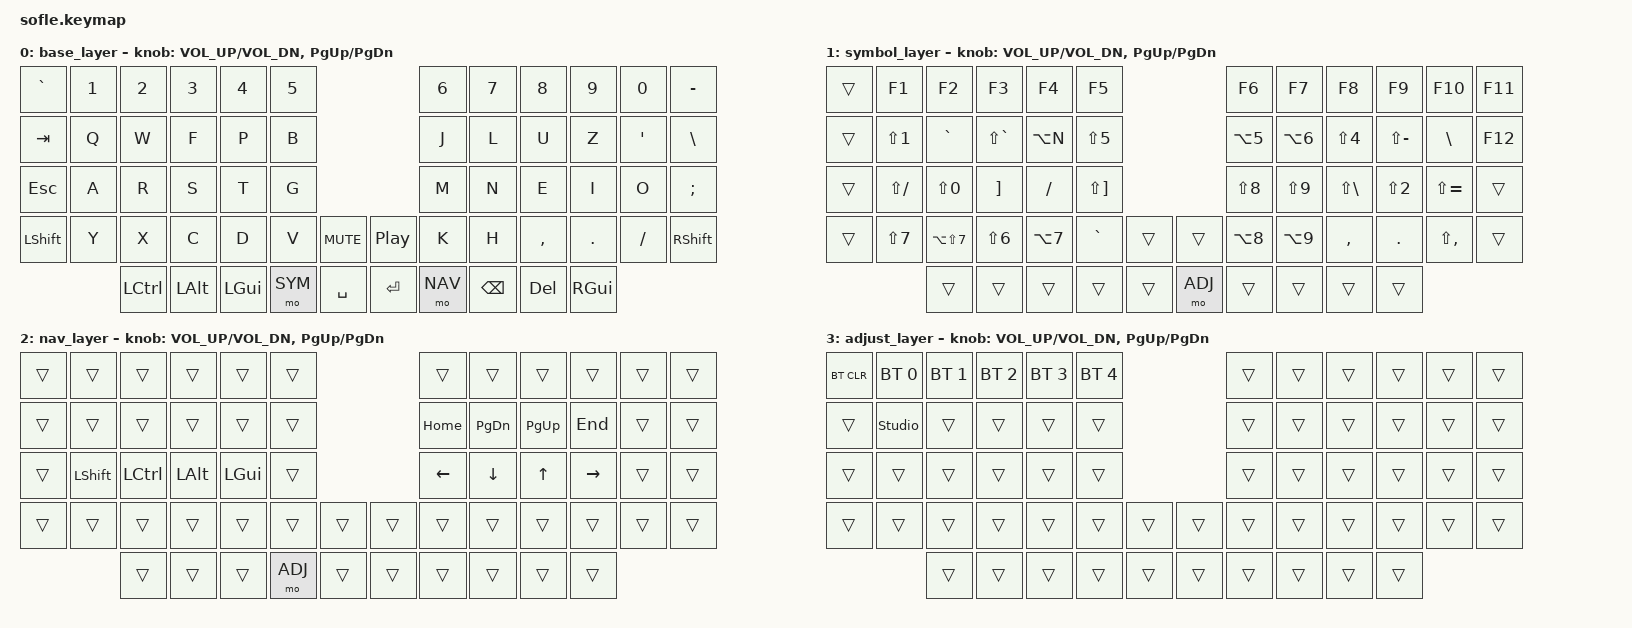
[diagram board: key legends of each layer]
#include <behaviors.dtsi>
#include <dt-bindings/zmk/keys.h>
#include <dt-bindings/zmk/bt.h>
#include <dt-bindings/zmk/ext_power.h>

#define BASE 0
#define SYM  1
#define NAV  2
#define ADJ  3

/ {
    combos {
        compatible = "zmk,combos";
        timeout-ms = <40>;

        /* Colemak-DH linke Hand: Pos 13 (A) + Pos 14 (R) = ä */
        combo_ae {
            key-positions = <13 14>;
            bindings = <&kp SQT>;
            layers = <BASE>;
        };

        /* Colemak-DH linke Hand: Pos 15 (S) + Pos 16 (T) = ß */
        combo_ss {
            key-positions = <15 16>;
            bindings = <&kp MINUS>;
            layers = <BASE>;
        };

        /* Colemak-DH rechte Hand: Pos 8 (U) + Pos 9 (Z-Keycode / Y-Buchstabe) = ü */
        combo_ue {
            key-positions = <8 9>;
            bindings = <&kp LBKT>;
            layers = <BASE>;
        };

        /* Colemak-DH rechte Hand: Pos 21 (I) + Pos 22 (O) = ö */
        combo_oe {
            key-positions = <21 22>;
            bindings = <&kp SEMI>;
            layers = <BASE>;
        };
    };

    keymap {
        compatible = "zmk,keymap";

        /* LAYER 0: BASE (Colemak-DH angepasst an macOS German Input) */
        base_layer {
            bindings = <
&kp GRAVE &kp N1 &kp N2 &kp N3   &kp N4   &kp N5                         &kp N6 &kp N7   &kp N8    &kp N9  &kp N0   &kp MINUS
&kp TAB   &kp Q  &kp W  &kp F    &kp P    &kp B                          &kp J  &kp L    &kp U     &kp Z   &kp SQT  &kp BSLH
&kp ESC   &kp A  &kp R  &kp S    &kp T    &kp G                          &kp M  &kp N    &kp E     &kp I   &kp O    &kp SEMI
&kp LSHFT &kp Y  &kp X  &kp C    &kp D    &kp V   &kp C_MUTE   &kp C_PP  &kp K  &kp H    &kp COMMA &kp DOT &kp FSLH &kp RSHFT
                 &kp LCTRL &kp LALT &kp LGUI &mo SYM &kp SPACE    &kp ENTER &mo NAV &kp BSPC &kp DEL &kp RGUI
            >;
            sensor-bindings = <&inc_dec_kp C_VOL_UP C_VOL_DN &inc_dec_kp PG_UP PG_DN>;
        };

        /* LAYER 1: SYM (SQL, Jinja & Programming auf macOS DE) */
        symbol_layer {
            bindings = <
&trans    &kp F1        &kp F2         &kp F3        &kp F4        &kp F5                            &kp F6        &kp F7        &kp F8        &kp F9        &kp F10       &kp F11
&trans    &kp LS(N1)    &kp GRAVE      &kp LS(GRAVE) &kp LA(N)     &kp LS(N5)                        &kp LA(N5)    &kp LA(N6)    &kp LS(N4)    &kp LS(MINUS) &kp BSLH      &kp F12
&trans    &kp LS(FSLH)  &kp LS(N0)     &kp RBKT      &kp FSLH      &kp LS(RBKT)                      &kp LS(N8)    &kp LS(N9)    &kp LS(BSLH)  &kp LS(N2)    &kp LS(EQUAL) &trans
&trans    &kp LS(N7)    &kp LA(LS(N7)) &kp LS(N6)    &kp LA(N7)    &kp GRAVE     &trans    &trans    &kp LA(N8)    &kp LA(N9)    &kp COMMA     &kp DOT       &kp LS(COMMA) &trans
                        &trans         &trans        &trans        &trans        &trans    &mo ADJ   &trans        &trans        &trans        &trans
            >;
            sensor-bindings = <&inc_dec_kp C_VOL_UP C_VOL_DN &inc_dec_kp PG_UP PG_DN>;
        };

        /* LAYER 2: NAV */
        nav_layer {
            bindings = <
&trans    &trans    &trans    &trans    &trans    &trans                         &trans    &trans    &trans    &trans     &trans    &trans
&trans    &trans    &trans    &trans    &trans    &trans                         &kp HOME  &kp PG_DN &kp PG_UP &kp END    &trans    &trans
&trans    &kp LSHFT &kp LCTRL &kp LALT  &kp LGUI  &trans                         &kp LEFT  &kp DOWN  &kp UP    &kp RIGHT  &trans    &trans
&trans    &trans    &trans    &trans    &trans    &trans    &trans     &trans    &trans    &trans    &trans    &trans     &trans    &trans
                    &trans    &trans    &trans    &mo ADJ   &trans     &trans    &trans    &trans    &trans    &trans
            >;
            sensor-bindings = <&inc_dec_kp C_VOL_UP C_VOL_DN &inc_dec_kp PG_UP PG_DN>;
        };

        /* LAYER 3: ADJ (mit Studio Unlock) */
        adjust_layer {
            bindings = <
&bt BT_CLR &bt BT_SEL 0    &bt BT_SEL 1 &bt BT_SEL 2 &bt BT_SEL 3 &bt BT_SEL 4                &trans &trans &trans &trans &trans &trans
&trans     &studio_unlock  &trans       &trans       &trans       &trans                      &trans &trans &trans &trans &trans &trans
&trans     &trans          &trans       &trans       &trans       &trans                      &trans &trans &trans &trans &trans &trans
&trans     &trans          &trans       &trans       &trans       &trans    &trans   &trans   &trans &trans &trans &trans &trans &trans
                           &trans       &trans       &trans       &trans    &trans   &trans   &trans &trans &trans &trans
            >;
            sensor-bindings = <&inc_dec_kp C_VOL_UP C_VOL_DN &inc_dec_kp PG_UP PG_DN>;
        };
    };
};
